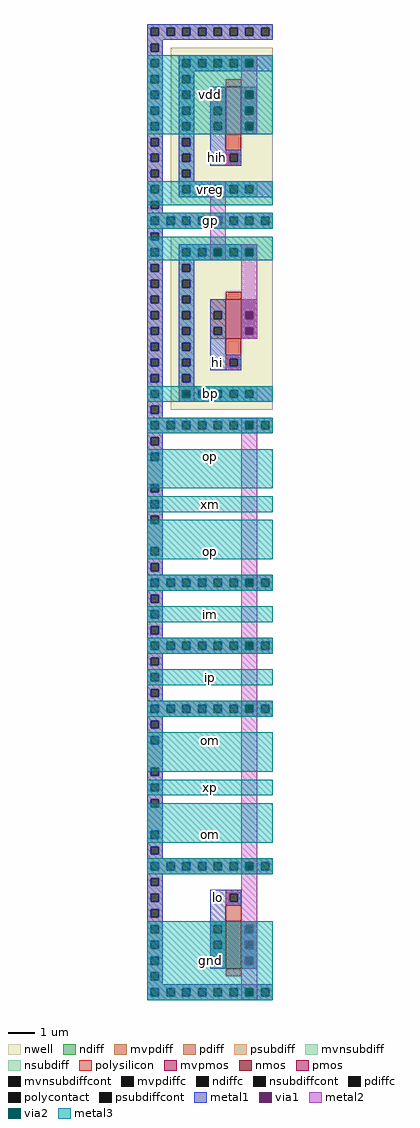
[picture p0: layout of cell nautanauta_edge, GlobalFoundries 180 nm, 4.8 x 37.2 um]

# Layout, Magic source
magic
tech gf180mcuC
<< nwell >>
rect -738 474 -660 594
rect -738 318 -660 450
<< nmos >>
rect -696 -108 -684 -72
<< pmos >>
rect -696 372 -684 402
<< mvpmos >>
rect -696 528 -684 564
<< ndiff >>
rect -708 -75 -696 -72
rect -708 -81 -705 -75
rect -699 -81 -696 -75
rect -708 -87 -696 -81
rect -708 -93 -705 -87
rect -699 -93 -696 -87
rect -708 -99 -696 -93
rect -708 -105 -705 -99
rect -699 -105 -696 -99
rect -708 -108 -696 -105
rect -684 -75 -672 -72
rect -684 -81 -681 -75
rect -675 -81 -672 -75
rect -684 -87 -672 -81
rect -684 -93 -681 -87
rect -675 -93 -672 -87
rect -684 -99 -672 -93
rect -684 -105 -681 -99
rect -675 -105 -672 -99
rect -684 -108 -672 -105
<< pdiff >>
rect -708 393 -696 402
rect -708 387 -705 393
rect -699 387 -696 393
rect -708 381 -696 387
rect -708 375 -705 381
rect -699 375 -696 381
rect -708 372 -696 375
rect -684 393 -672 402
rect -684 387 -681 393
rect -675 387 -672 393
rect -684 381 -672 387
rect -684 375 -681 381
rect -675 375 -672 381
rect -684 372 -672 375
<< mvpdiff >>
rect -708 561 -696 564
rect -708 555 -705 561
rect -699 555 -696 561
rect -708 549 -696 555
rect -708 543 -705 549
rect -699 543 -696 549
rect -708 537 -696 543
rect -708 531 -705 537
rect -699 531 -696 537
rect -708 528 -696 531
rect -684 561 -672 564
rect -684 555 -681 561
rect -675 555 -672 561
rect -684 549 -672 555
rect -684 543 -681 549
rect -675 543 -672 549
rect -684 537 -672 543
rect -684 531 -681 537
rect -675 531 -672 537
rect -684 528 -672 531
<< ndiffc >>
rect -705 -81 -699 -75
rect -705 -93 -699 -87
rect -705 -105 -699 -99
rect -681 -81 -675 -75
rect -681 -93 -675 -87
rect -681 -105 -675 -99
<< pdiffc >>
rect -705 387 -699 393
rect -705 375 -699 381
rect -681 387 -675 393
rect -681 375 -675 381
<< mvpdiffc >>
rect -705 555 -699 561
rect -705 543 -699 549
rect -705 531 -699 537
rect -681 555 -675 561
rect -681 543 -675 549
rect -681 531 -675 537
<< psubdiff >>
rect -756 609 -660 612
rect -756 603 -753 609
rect -747 603 -741 609
rect -735 603 -729 609
rect -723 603 -717 609
rect -711 603 -705 609
rect -699 603 -693 609
rect -687 603 -681 609
rect -675 603 -669 609
rect -663 603 -660 609
rect -756 600 -660 603
rect -756 597 -744 600
rect -756 591 -753 597
rect -747 591 -744 597
rect -756 585 -744 591
rect -756 579 -753 585
rect -747 579 -744 585
rect -756 573 -744 579
rect -756 567 -753 573
rect -747 567 -744 573
rect -756 561 -744 567
rect -756 555 -753 561
rect -747 555 -744 561
rect -756 549 -744 555
rect -756 543 -753 549
rect -747 543 -744 549
rect -756 537 -744 543
rect -756 531 -753 537
rect -747 531 -744 537
rect -756 525 -744 531
rect -756 519 -753 525
rect -747 519 -744 525
rect -756 513 -744 519
rect -756 507 -753 513
rect -747 507 -744 513
rect -756 501 -744 507
rect -756 495 -753 501
rect -747 495 -744 501
rect -756 489 -744 495
rect -756 483 -753 489
rect -747 483 -744 489
rect -756 477 -744 483
rect -756 471 -753 477
rect -747 471 -744 477
rect -756 468 -744 471
rect -756 465 -660 468
rect -756 459 -753 465
rect -747 459 -741 465
rect -735 459 -729 465
rect -723 459 -717 465
rect -711 459 -705 465
rect -699 459 -693 465
rect -687 459 -681 465
rect -675 459 -669 465
rect -663 459 -660 465
rect -756 456 -660 459
rect -756 453 -744 456
rect -756 447 -753 453
rect -747 447 -744 453
rect -756 441 -744 447
rect -756 435 -753 441
rect -747 435 -744 441
rect -756 429 -744 435
rect -756 423 -753 429
rect -747 423 -744 429
rect -756 417 -744 423
rect -756 411 -753 417
rect -747 411 -744 417
rect -756 405 -744 411
rect -756 399 -753 405
rect -747 399 -744 405
rect -756 393 -744 399
rect -756 387 -753 393
rect -747 387 -744 393
rect -756 381 -744 387
rect -756 375 -753 381
rect -747 375 -744 381
rect -756 369 -744 375
rect -756 363 -753 369
rect -747 363 -744 369
rect -756 357 -744 363
rect -756 351 -753 357
rect -747 351 -744 357
rect -756 345 -744 351
rect -756 339 -753 345
rect -747 339 -744 345
rect -756 333 -744 339
rect -756 327 -753 333
rect -747 327 -744 333
rect -756 321 -744 327
rect -756 315 -753 321
rect -747 315 -744 321
rect -756 312 -744 315
rect -756 309 -660 312
rect -756 303 -753 309
rect -747 303 -741 309
rect -735 303 -729 309
rect -723 303 -717 309
rect -711 303 -705 309
rect -699 303 -693 309
rect -687 303 -681 309
rect -675 303 -669 309
rect -663 303 -660 309
rect -756 300 -660 303
rect -756 297 -744 300
rect -756 291 -753 297
rect -747 291 -744 297
rect -756 285 -744 291
rect -756 279 -753 285
rect -747 279 -744 285
rect -756 261 -744 279
rect -756 255 -753 261
rect -747 255 -744 261
rect -756 249 -744 255
rect -756 243 -753 249
rect -747 243 -744 249
rect -756 237 -744 243
rect -756 231 -753 237
rect -747 231 -744 237
rect -756 213 -744 231
rect -756 207 -753 213
rect -747 207 -744 213
rect -756 201 -744 207
rect -756 195 -753 201
rect -747 195 -744 201
rect -756 192 -744 195
rect -756 189 -660 192
rect -756 183 -753 189
rect -747 183 -741 189
rect -735 183 -729 189
rect -723 183 -717 189
rect -711 183 -705 189
rect -699 183 -693 189
rect -687 183 -681 189
rect -675 183 -669 189
rect -663 183 -660 189
rect -756 180 -660 183
rect -756 177 -744 180
rect -756 171 -753 177
rect -747 171 -744 177
rect -756 165 -744 171
rect -756 159 -753 165
rect -747 159 -744 165
rect -756 153 -744 159
rect -756 147 -753 153
rect -747 147 -744 153
rect -756 144 -744 147
rect -756 141 -660 144
rect -756 135 -753 141
rect -747 135 -741 141
rect -735 135 -729 141
rect -723 135 -717 141
rect -711 135 -705 141
rect -699 135 -693 141
rect -687 135 -681 141
rect -675 135 -669 141
rect -663 135 -660 141
rect -756 132 -660 135
rect -756 129 -744 132
rect -756 123 -753 129
rect -747 123 -744 129
rect -756 117 -744 123
rect -756 111 -753 117
rect -747 111 -744 117
rect -756 105 -744 111
rect -756 99 -753 105
rect -747 99 -744 105
rect -756 96 -744 99
rect -756 93 -660 96
rect -756 87 -753 93
rect -747 87 -741 93
rect -735 87 -729 93
rect -723 87 -717 93
rect -711 87 -705 93
rect -699 87 -693 93
rect -687 87 -681 93
rect -675 87 -669 93
rect -663 87 -660 93
rect -756 84 -660 87
rect -756 81 -744 84
rect -756 75 -753 81
rect -747 75 -744 81
rect -756 69 -744 75
rect -756 63 -753 69
rect -747 63 -744 69
rect -756 45 -744 63
rect -756 39 -753 45
rect -747 39 -744 45
rect -756 33 -744 39
rect -756 27 -753 33
rect -747 27 -744 33
rect -756 21 -744 27
rect -756 15 -753 21
rect -747 15 -744 21
rect -756 -3 -744 15
rect -756 -9 -753 -3
rect -747 -9 -744 -3
rect -756 -15 -744 -9
rect -756 -21 -753 -15
rect -747 -21 -744 -15
rect -756 -24 -744 -21
rect -756 -27 -660 -24
rect -756 -33 -753 -27
rect -747 -33 -741 -27
rect -735 -33 -729 -27
rect -723 -33 -717 -27
rect -711 -33 -705 -27
rect -699 -33 -693 -27
rect -687 -33 -681 -27
rect -675 -33 -669 -27
rect -663 -33 -660 -27
rect -756 -36 -660 -33
rect -756 -39 -744 -36
rect -756 -45 -753 -39
rect -747 -45 -744 -39
rect -756 -51 -744 -45
rect -756 -57 -753 -51
rect -747 -57 -744 -51
rect -756 -63 -744 -57
rect -756 -69 -753 -63
rect -747 -69 -744 -63
rect -756 -75 -744 -69
rect -756 -81 -753 -75
rect -747 -81 -744 -75
rect -756 -87 -744 -81
rect -756 -93 -753 -87
rect -747 -93 -744 -87
rect -756 -99 -744 -93
rect -756 -105 -753 -99
rect -747 -105 -744 -99
rect -756 -111 -744 -105
rect -756 -117 -753 -111
rect -747 -117 -744 -111
rect -756 -120 -744 -117
rect -756 -123 -660 -120
rect -756 -129 -753 -123
rect -747 -129 -741 -123
rect -735 -129 -729 -123
rect -723 -129 -717 -123
rect -711 -129 -705 -123
rect -699 -129 -693 -123
rect -687 -129 -681 -123
rect -675 -129 -669 -123
rect -663 -129 -660 -123
rect -756 -132 -660 -129
<< nsubdiff >>
rect -732 441 -672 444
rect -732 435 -729 441
rect -723 435 -717 441
rect -711 435 -705 441
rect -699 435 -693 441
rect -687 435 -681 441
rect -675 435 -672 441
rect -732 432 -672 435
rect -732 429 -720 432
rect -732 423 -729 429
rect -723 423 -720 429
rect -732 417 -720 423
rect -732 411 -729 417
rect -723 411 -720 417
rect -732 405 -720 411
rect -732 399 -729 405
rect -723 399 -720 405
rect -732 393 -720 399
rect -732 387 -729 393
rect -723 387 -720 393
rect -732 381 -720 387
rect -732 375 -729 381
rect -723 375 -720 381
rect -732 369 -720 375
rect -732 363 -729 369
rect -723 363 -720 369
rect -732 357 -720 363
rect -732 351 -729 357
rect -723 351 -720 357
rect -732 345 -720 351
rect -732 339 -729 345
rect -723 339 -720 345
rect -732 336 -720 339
rect -732 333 -672 336
rect -732 327 -729 333
rect -723 327 -717 333
rect -711 327 -705 333
rect -699 327 -693 333
rect -687 327 -681 333
rect -675 327 -672 333
rect -732 324 -672 327
<< mvnsubdiff >>
rect -732 585 -672 588
rect -732 579 -729 585
rect -723 579 -717 585
rect -711 579 -705 585
rect -699 579 -693 585
rect -687 579 -681 585
rect -675 579 -672 585
rect -732 576 -672 579
rect -732 573 -720 576
rect -732 567 -729 573
rect -723 567 -720 573
rect -732 561 -720 567
rect -732 555 -729 561
rect -723 555 -720 561
rect -732 549 -720 555
rect -732 543 -729 549
rect -723 543 -720 549
rect -732 537 -720 543
rect -732 531 -729 537
rect -723 531 -720 537
rect -732 525 -720 531
rect -732 519 -729 525
rect -723 519 -720 525
rect -732 513 -720 519
rect -732 507 -729 513
rect -723 507 -720 513
rect -732 501 -720 507
rect -732 495 -729 501
rect -723 495 -720 501
rect -732 492 -720 495
rect -732 489 -672 492
rect -732 483 -729 489
rect -723 483 -717 489
rect -711 483 -705 489
rect -699 483 -693 489
rect -687 483 -681 489
rect -675 483 -672 489
rect -732 480 -672 483
<< psubdiffcont >>
rect -753 603 -747 609
rect -741 603 -735 609
rect -729 603 -723 609
rect -717 603 -711 609
rect -705 603 -699 609
rect -693 603 -687 609
rect -681 603 -675 609
rect -669 603 -663 609
rect -753 591 -747 597
rect -753 579 -747 585
rect -753 567 -747 573
rect -753 555 -747 561
rect -753 543 -747 549
rect -753 531 -747 537
rect -753 519 -747 525
rect -753 507 -747 513
rect -753 495 -747 501
rect -753 483 -747 489
rect -753 471 -747 477
rect -753 459 -747 465
rect -741 459 -735 465
rect -729 459 -723 465
rect -717 459 -711 465
rect -705 459 -699 465
rect -693 459 -687 465
rect -681 459 -675 465
rect -669 459 -663 465
rect -753 447 -747 453
rect -753 435 -747 441
rect -753 423 -747 429
rect -753 411 -747 417
rect -753 399 -747 405
rect -753 387 -747 393
rect -753 375 -747 381
rect -753 363 -747 369
rect -753 351 -747 357
rect -753 339 -747 345
rect -753 327 -747 333
rect -753 315 -747 321
rect -753 303 -747 309
rect -741 303 -735 309
rect -729 303 -723 309
rect -717 303 -711 309
rect -705 303 -699 309
rect -693 303 -687 309
rect -681 303 -675 309
rect -669 303 -663 309
rect -753 291 -747 297
rect -753 279 -747 285
rect -753 255 -747 261
rect -753 243 -747 249
rect -753 231 -747 237
rect -753 207 -747 213
rect -753 195 -747 201
rect -753 183 -747 189
rect -741 183 -735 189
rect -729 183 -723 189
rect -717 183 -711 189
rect -705 183 -699 189
rect -693 183 -687 189
rect -681 183 -675 189
rect -669 183 -663 189
rect -753 171 -747 177
rect -753 159 -747 165
rect -753 147 -747 153
rect -753 135 -747 141
rect -741 135 -735 141
rect -729 135 -723 141
rect -717 135 -711 141
rect -705 135 -699 141
rect -693 135 -687 141
rect -681 135 -675 141
rect -669 135 -663 141
rect -753 123 -747 129
rect -753 111 -747 117
rect -753 99 -747 105
rect -753 87 -747 93
rect -741 87 -735 93
rect -729 87 -723 93
rect -717 87 -711 93
rect -705 87 -699 93
rect -693 87 -687 93
rect -681 87 -675 93
rect -669 87 -663 93
rect -753 75 -747 81
rect -753 63 -747 69
rect -753 39 -747 45
rect -753 27 -747 33
rect -753 15 -747 21
rect -753 -9 -747 -3
rect -753 -21 -747 -15
rect -753 -33 -747 -27
rect -741 -33 -735 -27
rect -729 -33 -723 -27
rect -717 -33 -711 -27
rect -705 -33 -699 -27
rect -693 -33 -687 -27
rect -681 -33 -675 -27
rect -669 -33 -663 -27
rect -753 -45 -747 -39
rect -753 -57 -747 -51
rect -753 -69 -747 -63
rect -753 -81 -747 -75
rect -753 -93 -747 -87
rect -753 -105 -747 -99
rect -753 -117 -747 -111
rect -753 -129 -747 -123
rect -741 -129 -735 -123
rect -729 -129 -723 -123
rect -717 -129 -711 -123
rect -705 -129 -699 -123
rect -693 -129 -687 -123
rect -681 -129 -675 -123
rect -669 -129 -663 -123
<< nsubdiffcont >>
rect -729 435 -723 441
rect -717 435 -711 441
rect -705 435 -699 441
rect -693 435 -687 441
rect -681 435 -675 441
rect -729 423 -723 429
rect -729 411 -723 417
rect -729 399 -723 405
rect -729 387 -723 393
rect -729 375 -723 381
rect -729 363 -723 369
rect -729 351 -723 357
rect -729 339 -723 345
rect -729 327 -723 333
rect -717 327 -711 333
rect -705 327 -699 333
rect -693 327 -687 333
rect -681 327 -675 333
<< mvnsubdiffcont >>
rect -729 579 -723 585
rect -717 579 -711 585
rect -705 579 -699 585
rect -693 579 -687 585
rect -681 579 -675 585
rect -729 567 -723 573
rect -729 555 -723 561
rect -729 543 -723 549
rect -729 531 -723 537
rect -729 519 -723 525
rect -729 507 -723 513
rect -729 495 -723 501
rect -729 483 -723 489
rect -717 483 -711 489
rect -705 483 -699 489
rect -693 483 -687 489
rect -681 483 -675 489
<< polysilicon >>
rect -696 564 -684 570
rect -696 513 -684 528
rect -696 507 -693 513
rect -687 507 -684 513
rect -696 504 -684 507
rect -696 402 -684 408
rect -696 357 -684 372
rect -696 351 -693 357
rect -687 351 -684 357
rect -696 348 -684 351
rect -696 -51 -684 -48
rect -696 -57 -693 -51
rect -687 -57 -684 -51
rect -696 -72 -684 -57
rect -696 -114 -684 -108
<< polycontact >>
rect -693 507 -687 513
rect -693 351 -687 357
rect -693 -57 -687 -51
<< metal1 >>
rect -756 609 -660 612
rect -756 603 -753 609
rect -747 603 -741 609
rect -735 603 -729 609
rect -723 603 -717 609
rect -711 603 -705 609
rect -699 603 -693 609
rect -687 603 -681 609
rect -675 603 -669 609
rect -663 603 -660 609
rect -756 600 -660 603
rect -756 597 -744 600
rect -756 591 -753 597
rect -747 591 -744 597
rect -756 585 -744 591
rect -756 579 -753 585
rect -747 579 -744 585
rect -756 573 -744 579
rect -756 567 -753 573
rect -747 567 -744 573
rect -756 561 -744 567
rect -756 555 -753 561
rect -747 555 -744 561
rect -756 549 -744 555
rect -756 543 -753 549
rect -747 543 -744 549
rect -756 537 -744 543
rect -756 531 -753 537
rect -747 531 -744 537
rect -756 525 -744 531
rect -756 519 -753 525
rect -747 519 -744 525
rect -756 513 -744 519
rect -756 507 -753 513
rect -747 507 -744 513
rect -756 501 -744 507
rect -756 495 -753 501
rect -747 495 -744 501
rect -756 489 -744 495
rect -756 483 -753 489
rect -747 483 -744 489
rect -756 477 -744 483
rect -732 585 -660 588
rect -732 579 -729 585
rect -723 579 -717 585
rect -711 579 -705 585
rect -699 579 -693 585
rect -687 579 -681 585
rect -675 579 -660 585
rect -732 576 -660 579
rect -732 573 -720 576
rect -732 567 -729 573
rect -723 567 -720 573
rect -732 561 -720 567
rect -732 555 -729 561
rect -723 555 -720 561
rect -732 549 -720 555
rect -732 543 -729 549
rect -723 543 -720 549
rect -732 537 -720 543
rect -732 531 -729 537
rect -723 531 -720 537
rect -732 525 -720 531
rect -732 519 -729 525
rect -723 519 -720 525
rect -732 513 -720 519
rect -732 507 -729 513
rect -723 507 -720 513
rect -732 501 -720 507
rect -708 561 -696 564
rect -708 555 -705 561
rect -699 555 -696 561
rect -708 549 -696 555
rect -708 543 -705 549
rect -699 543 -696 549
rect -708 537 -696 543
rect -708 531 -705 537
rect -699 531 -696 537
rect -708 516 -696 531
rect -684 561 -672 564
rect -684 555 -681 561
rect -675 555 -672 561
rect -684 549 -672 555
rect -684 543 -681 549
rect -675 543 -672 549
rect -684 537 -672 543
rect -684 531 -681 537
rect -675 531 -672 537
rect -684 528 -672 531
rect -708 513 -684 516
rect -708 507 -693 513
rect -687 507 -684 513
rect -708 504 -684 507
rect -732 495 -729 501
rect -723 495 -720 501
rect -732 492 -720 495
rect -732 489 -660 492
rect -732 483 -729 489
rect -723 483 -717 489
rect -711 483 -705 489
rect -699 483 -693 489
rect -687 483 -681 489
rect -675 483 -660 489
rect -732 480 -660 483
rect -756 471 -753 477
rect -747 471 -744 477
rect -756 468 -744 471
rect -756 465 -660 468
rect -756 459 -753 465
rect -747 459 -741 465
rect -735 459 -729 465
rect -723 459 -717 465
rect -711 459 -705 465
rect -699 459 -693 465
rect -687 459 -681 465
rect -675 459 -669 465
rect -663 459 -660 465
rect -756 456 -660 459
rect -756 453 -744 456
rect -756 447 -753 453
rect -747 447 -744 453
rect -756 441 -744 447
rect -756 435 -753 441
rect -747 435 -744 441
rect -756 429 -744 435
rect -756 423 -753 429
rect -747 423 -744 429
rect -756 417 -744 423
rect -756 411 -753 417
rect -747 411 -744 417
rect -756 405 -744 411
rect -756 399 -753 405
rect -747 399 -744 405
rect -756 393 -744 399
rect -756 387 -753 393
rect -747 387 -744 393
rect -756 381 -744 387
rect -756 375 -753 381
rect -747 375 -744 381
rect -756 369 -744 375
rect -756 363 -753 369
rect -747 363 -744 369
rect -756 357 -744 363
rect -756 351 -753 357
rect -747 351 -744 357
rect -756 345 -744 351
rect -756 339 -753 345
rect -747 339 -744 345
rect -756 333 -744 339
rect -756 327 -753 333
rect -747 327 -744 333
rect -756 321 -744 327
rect -732 441 -672 444
rect -732 435 -729 441
rect -723 435 -717 441
rect -711 435 -705 441
rect -699 435 -693 441
rect -687 435 -681 441
rect -675 435 -672 441
rect -732 432 -672 435
rect -732 429 -720 432
rect -732 423 -729 429
rect -723 423 -720 429
rect -732 417 -720 423
rect -732 411 -729 417
rect -723 411 -720 417
rect -732 405 -720 411
rect -732 399 -729 405
rect -723 399 -720 405
rect -732 393 -720 399
rect -732 387 -729 393
rect -723 387 -720 393
rect -732 381 -720 387
rect -732 375 -729 381
rect -723 375 -720 381
rect -732 369 -720 375
rect -732 363 -729 369
rect -723 363 -720 369
rect -732 357 -720 363
rect -732 351 -729 357
rect -723 351 -720 357
rect -732 345 -720 351
rect -708 393 -696 402
rect -708 387 -705 393
rect -699 387 -696 393
rect -708 381 -696 387
rect -708 375 -705 381
rect -699 375 -696 381
rect -708 360 -696 375
rect -684 393 -672 402
rect -684 387 -681 393
rect -675 387 -672 393
rect -684 381 -672 387
rect -684 375 -681 381
rect -675 375 -672 381
rect -684 372 -672 375
rect -708 357 -684 360
rect -708 351 -693 357
rect -687 351 -684 357
rect -708 348 -684 351
rect -732 339 -729 345
rect -723 339 -720 345
rect -732 336 -720 339
rect -732 333 -660 336
rect -732 327 -729 333
rect -723 327 -717 333
rect -711 327 -705 333
rect -699 327 -693 333
rect -687 327 -681 333
rect -675 327 -660 333
rect -732 324 -660 327
rect -756 315 -753 321
rect -747 315 -744 321
rect -756 312 -744 315
rect -756 309 -660 312
rect -756 303 -753 309
rect -747 303 -741 309
rect -735 303 -729 309
rect -723 303 -717 309
rect -711 303 -705 309
rect -699 303 -693 309
rect -687 303 -681 309
rect -675 303 -669 309
rect -663 303 -660 309
rect -756 300 -660 303
rect -756 297 -744 300
rect -756 291 -753 297
rect -747 291 -744 297
rect -756 285 -744 291
rect -756 279 -753 285
rect -747 279 -744 285
rect -756 261 -744 279
rect -756 255 -753 261
rect -747 255 -744 261
rect -756 249 -744 255
rect -756 243 -753 249
rect -747 243 -744 249
rect -756 237 -744 243
rect -756 231 -753 237
rect -747 231 -744 237
rect -756 213 -744 231
rect -756 207 -753 213
rect -747 207 -744 213
rect -756 201 -744 207
rect -756 195 -753 201
rect -747 195 -744 201
rect -756 192 -744 195
rect -756 189 -660 192
rect -756 183 -753 189
rect -747 183 -741 189
rect -735 183 -729 189
rect -723 183 -717 189
rect -711 183 -705 189
rect -699 183 -693 189
rect -687 183 -681 189
rect -675 183 -669 189
rect -663 183 -660 189
rect -756 180 -660 183
rect -756 177 -744 180
rect -756 171 -753 177
rect -747 171 -744 177
rect -756 165 -744 171
rect -756 159 -753 165
rect -747 159 -744 165
rect -756 153 -744 159
rect -756 147 -753 153
rect -747 147 -744 153
rect -756 144 -744 147
rect -756 141 -660 144
rect -756 135 -753 141
rect -747 135 -741 141
rect -735 135 -729 141
rect -723 135 -717 141
rect -711 135 -705 141
rect -699 135 -693 141
rect -687 135 -681 141
rect -675 135 -669 141
rect -663 135 -660 141
rect -756 132 -660 135
rect -756 129 -744 132
rect -756 123 -753 129
rect -747 123 -744 129
rect -756 117 -744 123
rect -756 111 -753 117
rect -747 111 -744 117
rect -756 105 -744 111
rect -756 99 -753 105
rect -747 99 -744 105
rect -756 96 -744 99
rect -756 93 -660 96
rect -756 87 -753 93
rect -747 87 -741 93
rect -735 87 -729 93
rect -723 87 -717 93
rect -711 87 -705 93
rect -699 87 -693 93
rect -687 87 -681 93
rect -675 87 -669 93
rect -663 87 -660 93
rect -756 84 -660 87
rect -756 81 -744 84
rect -756 75 -753 81
rect -747 75 -744 81
rect -756 69 -744 75
rect -756 63 -753 69
rect -747 63 -744 69
rect -756 45 -744 63
rect -756 39 -753 45
rect -747 39 -744 45
rect -756 33 -744 39
rect -756 27 -753 33
rect -747 27 -744 33
rect -756 21 -744 27
rect -756 15 -753 21
rect -747 15 -744 21
rect -756 -3 -744 15
rect -756 -9 -753 -3
rect -747 -9 -744 -3
rect -756 -15 -744 -9
rect -756 -21 -753 -15
rect -747 -21 -744 -15
rect -756 -24 -744 -21
rect -756 -27 -660 -24
rect -756 -33 -753 -27
rect -747 -33 -741 -27
rect -735 -33 -729 -27
rect -723 -33 -717 -27
rect -711 -33 -705 -27
rect -699 -33 -693 -27
rect -687 -33 -681 -27
rect -675 -33 -669 -27
rect -663 -33 -660 -27
rect -756 -36 -660 -33
rect -756 -39 -744 -36
rect -756 -45 -753 -39
rect -747 -45 -744 -39
rect -756 -51 -744 -45
rect -756 -57 -753 -51
rect -747 -57 -744 -51
rect -756 -63 -744 -57
rect -756 -69 -753 -63
rect -747 -69 -744 -63
rect -756 -75 -744 -69
rect -756 -81 -753 -75
rect -747 -81 -744 -75
rect -756 -87 -744 -81
rect -756 -93 -753 -87
rect -747 -93 -744 -87
rect -756 -99 -744 -93
rect -756 -105 -753 -99
rect -747 -105 -744 -99
rect -756 -111 -744 -105
rect -708 -51 -684 -48
rect -708 -57 -693 -51
rect -687 -57 -684 -51
rect -708 -60 -684 -57
rect -708 -75 -696 -60
rect -708 -81 -705 -75
rect -699 -81 -696 -75
rect -708 -87 -696 -81
rect -708 -93 -705 -87
rect -699 -93 -696 -87
rect -708 -99 -696 -93
rect -708 -105 -705 -99
rect -699 -105 -696 -99
rect -708 -108 -696 -105
rect -684 -75 -672 -72
rect -684 -81 -681 -75
rect -675 -81 -672 -75
rect -684 -87 -672 -81
rect -684 -93 -681 -87
rect -675 -93 -672 -87
rect -684 -99 -672 -93
rect -684 -105 -681 -99
rect -675 -105 -672 -99
rect -684 -108 -672 -105
rect -756 -117 -753 -111
rect -747 -117 -744 -111
rect -756 -120 -744 -117
rect -756 -123 -660 -120
rect -756 -129 -753 -123
rect -747 -129 -741 -123
rect -735 -129 -729 -123
rect -723 -129 -717 -123
rect -711 -129 -705 -123
rect -699 -129 -693 -123
rect -687 -129 -681 -123
rect -675 -129 -669 -123
rect -663 -129 -660 -123
rect -756 -132 -660 -129
<< via1 >>
rect -681 579 -675 585
rect -681 555 -675 561
rect -681 543 -675 549
rect -681 531 -675 537
rect -681 387 -675 393
rect -681 375 -675 381
rect -729 327 -723 333
rect -681 303 -675 309
rect -681 183 -675 189
rect -681 135 -675 141
rect -681 87 -675 93
rect -681 -33 -675 -27
rect -681 -81 -675 -75
rect -681 -93 -675 -87
rect -681 -105 -675 -99
rect -681 -129 -675 -123
<< metal2 >>
rect -684 585 -672 588
rect -684 579 -681 585
rect -675 579 -672 585
rect -684 561 -672 579
rect -684 555 -681 561
rect -675 555 -672 561
rect -684 549 -672 555
rect -684 543 -681 549
rect -675 543 -672 549
rect -684 537 -672 543
rect -684 531 -681 537
rect -675 531 -672 537
rect -684 528 -672 531
rect -708 489 -696 492
rect -708 483 -705 489
rect -699 483 -696 489
rect -708 441 -696 483
rect -708 435 -705 441
rect -699 435 -696 441
rect -708 432 -696 435
rect -684 441 -672 444
rect -684 435 -681 441
rect -675 435 -672 441
rect -684 393 -672 435
rect -684 387 -681 393
rect -675 387 -672 393
rect -684 381 -672 387
rect -684 375 -681 381
rect -675 375 -672 381
rect -684 372 -672 375
rect -732 333 -720 336
rect -732 327 -729 333
rect -723 327 -720 333
rect -732 324 -720 327
rect -684 309 -672 312
rect -684 303 -681 309
rect -675 303 -672 309
rect -684 189 -672 303
rect -684 183 -681 189
rect -675 183 -672 189
rect -684 141 -672 183
rect -684 135 -681 141
rect -675 135 -672 141
rect -684 93 -672 135
rect -684 87 -681 93
rect -675 87 -672 93
rect -684 -27 -672 87
rect -684 -33 -681 -27
rect -675 -33 -672 -27
rect -684 -75 -672 -33
rect -684 -81 -681 -75
rect -675 -81 -672 -75
rect -684 -87 -672 -81
rect -684 -93 -681 -87
rect -675 -93 -672 -87
rect -684 -99 -672 -93
rect -684 -105 -681 -99
rect -675 -105 -672 -99
rect -684 -123 -672 -105
rect -684 -129 -681 -123
rect -675 -129 -672 -123
rect -684 -132 -672 -129
<< via2 >>
rect -681 579 -675 585
rect -681 555 -675 561
rect -681 543 -675 549
rect -681 531 -675 537
rect -705 483 -699 489
rect -705 435 -699 441
rect -681 435 -675 441
rect -729 327 -723 333
rect -681 303 -675 309
rect -681 183 -675 189
rect -681 135 -675 141
rect -681 87 -675 93
rect -681 -33 -675 -27
rect -681 -129 -675 -123
<< metal3 >>
rect -756 585 -660 588
rect -756 579 -681 585
rect -675 579 -660 585
rect -756 561 -660 579
rect -756 555 -681 561
rect -675 555 -660 561
rect -756 549 -660 555
rect -756 543 -681 549
rect -675 543 -660 549
rect -756 537 -660 543
rect -756 531 -681 537
rect -675 531 -660 537
rect -756 528 -660 531
rect -756 489 -660 492
rect -756 483 -705 489
rect -699 483 -660 489
rect -756 474 -660 483
rect -756 456 -660 468
rect -756 441 -660 450
rect -756 435 -705 441
rect -699 435 -681 441
rect -675 435 -660 441
rect -756 432 -660 435
rect -756 333 -660 336
rect -756 327 -729 333
rect -723 327 -660 333
rect -756 324 -660 327
rect -756 309 -660 312
rect -756 303 -681 309
rect -675 303 -660 309
rect -756 300 -660 303
rect -756 258 -660 288
rect -756 240 -660 252
rect -756 204 -660 234
rect -756 189 -660 192
rect -756 183 -681 189
rect -675 183 -660 189
rect -756 180 -660 183
rect -756 156 -660 168
rect -756 141 -660 144
rect -756 135 -681 141
rect -675 135 -660 141
rect -756 132 -660 135
rect -756 108 -660 120
rect -756 93 -660 96
rect -756 87 -681 93
rect -675 87 -660 93
rect -756 84 -660 87
rect -756 42 -660 72
rect -756 24 -660 36
rect -756 -12 -660 18
rect -756 -27 -660 -24
rect -756 -33 -681 -27
rect -675 -33 -660 -27
rect -756 -36 -660 -33
rect -756 -123 -660 -72
rect -756 -129 -681 -123
rect -675 -129 -660 -123
rect -756 -132 -660 -129
<< labels >>
rlabel metal3 -756 -132 -660 -72 0 gnd
port 9 nsew
rlabel metal1 -708 -60 -696 -48 0 lo
rlabel metal3 -756 -12 -660 0 0 om
port 13 nsew
rlabel metal3 -756 24 -660 36 0 xp
port 12 nsew
rlabel metal3 -756 108 -660 120 0 ip
port 7 nsew
rlabel metal3 -756 156 -660 168 0 im
port 6 nsew
rlabel metal3 -756 240 -660 252 0 xm
port 10 nsew
rlabel metal3 -756 276 -660 288 0 op
port 11 nsew
rlabel metal1 -708 348 -696 360 0 hi
rlabel metal1 -708 504 -696 516 1 hih
rlabel metal3 -756 480 -660 492 0 vreg
port 4 nsew
rlabel metal3 -756 324 -660 336 0 bp
port 3 nsew
rlabel metal3 -756 456 -660 468 0 gp
port 2 nsew
rlabel metal3 -756 528 -660 588 0 vdd
port 1 nsew
rlabel metal3 -756 60 -660 72 0 om
port 13 nsew
rlabel metal3 -756 204 -660 216 0 op
port 11 nsew
<< end >>
